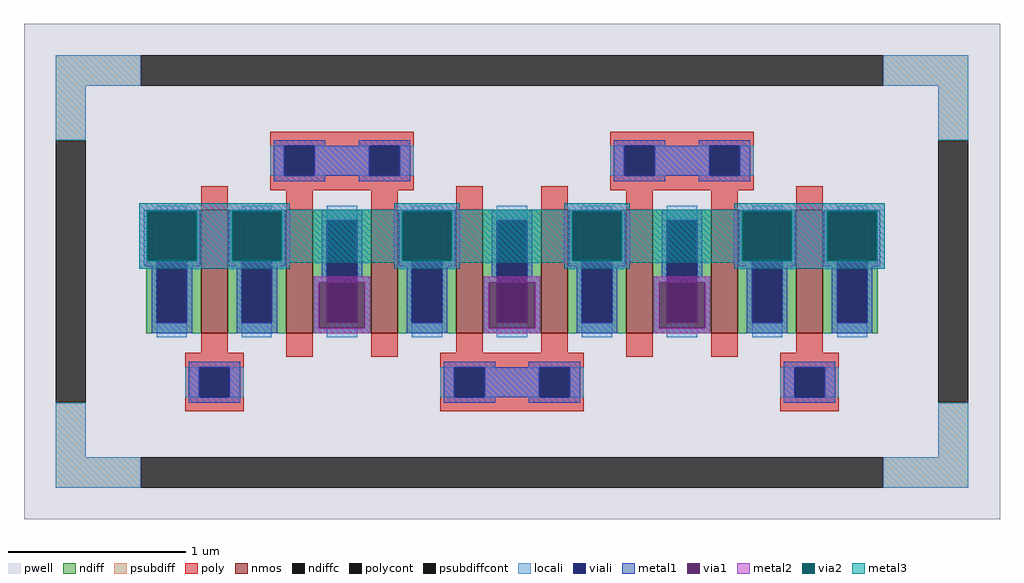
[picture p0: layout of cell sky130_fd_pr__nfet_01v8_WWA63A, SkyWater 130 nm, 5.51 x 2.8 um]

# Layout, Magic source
magic
tech sky130A
magscale 1 2
<< pwell >>
rect -551 -280 551 280
<< nmos >>
rect -351 -70 -321 70
rect -255 -70 -225 70
rect -159 -70 -129 70
rect -63 -70 -33 70
rect 33 -70 63 70
rect 129 -70 159 70
rect 225 -70 255 70
rect 321 -70 351 70
<< ndiff >>
rect -413 58 -351 70
rect -413 -58 -401 58
rect -367 -58 -351 58
rect -413 -70 -351 -58
rect -321 58 -255 70
rect -321 -58 -305 58
rect -271 -58 -255 58
rect -321 -70 -255 -58
rect -225 58 -159 70
rect -225 -58 -209 58
rect -175 -58 -159 58
rect -225 -70 -159 -58
rect -129 58 -63 70
rect -129 -58 -113 58
rect -79 -58 -63 58
rect -129 -70 -63 -58
rect -33 58 33 70
rect -33 -58 -17 58
rect 17 -58 33 58
rect -33 -70 33 -58
rect 63 58 129 70
rect 63 -58 79 58
rect 113 -58 129 58
rect 63 -70 129 -58
rect 159 58 225 70
rect 159 -58 175 58
rect 209 -58 225 58
rect 159 -70 225 -58
rect 255 58 321 70
rect 255 -58 271 58
rect 305 -58 321 58
rect 255 -70 321 -58
rect 351 58 413 70
rect 351 -58 367 58
rect 401 -58 413 58
rect 351 -70 413 -58
<< ndiffc >>
rect -401 -58 -367 58
rect -305 -58 -271 58
rect -209 -58 -175 58
rect -113 -58 -79 58
rect -17 -58 17 58
rect 79 -58 113 58
rect 175 -58 209 58
rect 271 -58 305 58
rect 367 -58 401 58
<< psubdiff >>
rect -515 210 -419 244
rect 419 210 515 244
rect -515 148 -481 210
rect 481 148 515 210
rect -515 -210 -481 -148
rect 481 -210 515 -148
rect -515 -244 -419 -210
rect 419 -244 515 -210
<< psubdiffcont >>
rect -419 210 419 244
rect -515 -148 -481 148
rect 481 -148 515 148
rect -419 -244 419 -210
<< poly >>
rect -273 142 -111 158
rect -273 108 -257 142
rect -223 108 -161 142
rect -127 108 -111 142
rect -351 70 -321 96
rect -273 92 -111 108
rect 111 142 273 158
rect 111 108 127 142
rect 161 108 223 142
rect 257 108 273 142
rect -255 70 -225 92
rect -159 70 -129 92
rect -63 70 -33 96
rect 33 70 63 96
rect 111 92 273 108
rect 129 70 159 92
rect 225 70 255 92
rect 321 70 351 96
rect -351 -92 -321 -70
rect -369 -108 -303 -92
rect -255 -96 -225 -70
rect -159 -96 -129 -70
rect -63 -92 -33 -70
rect 33 -92 63 -70
rect -369 -142 -353 -108
rect -319 -142 -303 -108
rect -369 -158 -303 -142
rect -81 -108 81 -92
rect 129 -96 159 -70
rect 225 -96 255 -70
rect 321 -92 351 -70
rect -81 -142 -65 -108
rect -31 -142 31 -108
rect 65 -142 81 -108
rect -81 -158 81 -142
rect 303 -108 369 -92
rect 303 -142 319 -108
rect 353 -142 369 -108
rect 303 -158 369 -142
<< polycont >>
rect -257 108 -223 142
rect -161 108 -127 142
rect 127 108 161 142
rect 223 108 257 142
rect -353 -142 -319 -108
rect -65 -142 -31 -108
rect 31 -142 65 -108
rect 319 -142 353 -108
<< locali >>
rect -515 210 -419 244
rect 419 210 515 244
rect -515 148 -481 210
rect 481 148 515 210
rect -273 108 -257 142
rect -223 108 -161 142
rect -127 108 -111 142
rect 111 108 127 142
rect 161 108 223 142
rect 257 108 273 142
rect -401 58 -367 74
rect -401 -74 -367 -58
rect -305 58 -271 74
rect -305 -74 -271 -58
rect -209 58 -175 74
rect -209 -74 -175 -58
rect -113 58 -79 74
rect -113 -74 -79 -58
rect -17 58 17 74
rect -17 -74 17 -58
rect 79 58 113 74
rect 79 -74 113 -58
rect 175 58 209 74
rect 175 -74 209 -58
rect 271 58 305 74
rect 271 -74 305 -58
rect 367 58 401 74
rect 367 -74 401 -58
rect -369 -142 -353 -108
rect -319 -142 -303 -108
rect -81 -142 -65 -108
rect -31 -142 31 -108
rect 65 -142 81 -108
rect 303 -142 319 -108
rect 353 -142 369 -108
rect -515 -210 -481 -148
rect 481 -210 515 -148
rect -515 -244 -419 -210
rect 419 -244 515 -210
<< viali >>
rect -257 108 -223 142
rect -161 108 -127 142
rect 127 108 161 142
rect 223 108 257 142
rect -401 -58 -367 58
rect -305 -58 -271 58
rect -209 -58 -175 58
rect -113 -58 -79 58
rect -17 -58 17 58
rect 79 -58 113 58
rect 175 -58 209 58
rect 271 -58 305 58
rect 367 -58 401 58
rect -353 -142 -319 -108
rect -65 -142 -31 -108
rect 31 -142 65 -108
rect 319 -142 353 -108
<< metal1 >>
rect -269 142 -211 148
rect -173 142 -115 148
rect -269 108 -257 142
rect -223 108 -161 142
rect -127 108 -115 142
rect -269 102 -211 108
rect -173 102 -115 108
rect 115 142 173 148
rect 211 142 269 148
rect 115 108 127 142
rect 161 108 223 142
rect 257 108 269 142
rect 115 102 173 108
rect 211 102 269 108
rect -416 66 -352 70
rect -416 14 -410 66
rect -358 14 -352 66
rect -416 6 -401 14
rect -407 -58 -401 6
rect -367 6 -352 14
rect -320 66 -256 70
rect -320 14 -314 66
rect -262 14 -256 66
rect -320 6 -305 14
rect -367 -58 -361 6
rect -407 -70 -361 -58
rect -311 -58 -305 6
rect -271 6 -256 14
rect -215 58 -169 70
rect -271 -58 -265 6
rect -215 -6 -209 58
rect -311 -70 -265 -58
rect -224 -12 -209 -6
rect -175 -6 -169 58
rect -128 66 -64 70
rect -128 14 -122 66
rect -70 14 -64 66
rect -128 6 -113 14
rect -175 -12 -160 -6
rect -224 -64 -218 -12
rect -166 -64 -160 -12
rect -224 -70 -160 -64
rect -119 -58 -113 6
rect -79 6 -64 14
rect -23 58 23 70
rect -79 -58 -73 6
rect -23 -6 -17 58
rect -119 -70 -73 -58
rect -32 -12 -17 -6
rect 17 -6 23 58
rect 64 66 128 70
rect 64 14 70 66
rect 122 14 128 66
rect 64 6 79 14
rect 17 -12 32 -6
rect -32 -64 -26 -12
rect 26 -64 32 -12
rect -32 -70 32 -64
rect 73 -58 79 6
rect 113 6 128 14
rect 169 58 215 70
rect 113 -58 119 6
rect 169 -6 175 58
rect 73 -70 119 -58
rect 160 -12 175 -6
rect 209 -6 215 58
rect 256 66 320 70
rect 256 14 262 66
rect 314 14 320 66
rect 256 6 271 14
rect 209 -12 224 -6
rect 160 -64 166 -12
rect 218 -64 224 -12
rect 160 -70 224 -64
rect 265 -58 271 6
rect 305 6 320 14
rect 352 66 416 70
rect 352 14 358 66
rect 410 14 416 66
rect 352 6 367 14
rect 305 -58 311 6
rect 265 -70 311 -58
rect 361 -58 367 6
rect 401 6 416 14
rect 401 -58 407 6
rect 361 -70 407 -58
rect -365 -108 -307 -102
rect -365 -142 -353 -108
rect -319 -142 -307 -108
rect -365 -148 -307 -142
rect -77 -108 -19 -102
rect 19 -108 77 -102
rect -77 -142 -65 -108
rect -31 -142 31 -108
rect 65 -142 77 -108
rect -77 -148 -19 -142
rect 19 -148 77 -142
rect 307 -108 365 -102
rect 307 -142 319 -108
rect 353 -142 365 -108
rect 307 -148 365 -142
<< via1 >>
rect -410 58 -358 66
rect -410 14 -401 58
rect -401 14 -367 58
rect -367 14 -358 58
rect -314 58 -262 66
rect -314 14 -305 58
rect -305 14 -271 58
rect -271 14 -262 58
rect -122 58 -70 66
rect -122 14 -113 58
rect -113 14 -79 58
rect -79 14 -70 58
rect -218 -58 -209 -12
rect -209 -58 -175 -12
rect -175 -58 -166 -12
rect -218 -64 -166 -58
rect 70 58 122 66
rect 70 14 79 58
rect 79 14 113 58
rect 113 14 122 58
rect -26 -58 -17 -12
rect -17 -58 17 -12
rect 17 -58 26 -12
rect -26 -64 26 -58
rect 262 58 314 66
rect 262 14 271 58
rect 271 14 305 58
rect 305 14 314 58
rect 166 -58 175 -12
rect 175 -58 209 -12
rect 209 -58 218 -12
rect 166 -64 218 -58
rect 358 58 410 66
rect 358 14 367 58
rect 367 14 401 58
rect 401 14 410 58
<< metal2 >>
rect -421 68 -251 77
rect -421 12 -412 68
rect -356 12 -316 68
rect -260 12 -251 68
rect -421 3 -251 12
rect -133 68 -59 77
rect -133 12 -124 68
rect -68 12 -59 68
rect -133 3 -59 12
rect 59 68 133 77
rect 59 12 68 68
rect 124 12 133 68
rect 59 3 133 12
rect 251 68 421 77
rect 251 12 260 68
rect 316 12 356 68
rect 412 12 421 68
rect 251 3 421 12
rect -224 -12 -160 -6
rect -224 -64 -218 -12
rect -166 -64 -160 -12
rect -224 -70 -160 -64
rect -32 -12 32 -6
rect -32 -64 -26 -12
rect 26 -64 32 -12
rect -32 -70 32 -64
rect 160 -12 224 -6
rect 160 -64 166 -12
rect 218 -64 224 -12
rect 160 -70 224 -64
<< via2 >>
rect -412 66 -356 68
rect -412 14 -410 66
rect -410 14 -358 66
rect -358 14 -356 66
rect -412 12 -356 14
rect -316 66 -260 68
rect -316 14 -314 66
rect -314 14 -262 66
rect -262 14 -260 66
rect -316 12 -260 14
rect -124 66 -68 68
rect -124 14 -122 66
rect -122 14 -70 66
rect -70 14 -68 66
rect -124 12 -68 14
rect 68 66 124 68
rect 68 14 70 66
rect 70 14 122 66
rect 122 14 124 66
rect 68 12 124 14
rect 260 66 316 68
rect 260 14 262 66
rect 262 14 314 66
rect 314 14 316 66
rect 260 12 316 14
rect 356 66 412 68
rect 356 14 358 66
rect 358 14 410 66
rect 410 14 412 66
rect 356 12 412 14
<< metal3 >>
rect -421 70 -251 77
rect -133 70 -59 77
rect 59 70 133 77
rect 251 70 421 77
rect -421 68 421 70
rect -421 12 -412 68
rect -356 12 -316 68
rect -260 12 -124 68
rect -68 12 68 68
rect 124 12 260 68
rect 316 12 356 68
rect 412 12 421 68
rect -421 10 421 12
rect -421 3 -251 10
rect -133 3 -59 10
rect 59 3 133 10
rect 251 3 421 10
<< properties >>
string FIXED_BBOX -498 -227 498 227
string gencell sky130_fd_pr__nfet_01v8
string library sky130
string parameters w 0.7 l 0.150 m 1 nf 8 diffcov 100 polycov 100 guard 1 glc 1 grc 1 gtc 1 gbc 1 tbcov 100 rlcov 100 topc 1 botc 1 poverlap 0 doverlap 1 lmin 0.15 wmin 0.42 compatible {sky130_fd_pr__nfet_01v8 sky130_fd_pr__nfet_01v8_lvt  sky130_fd_bs_flash__special_sonosfet_star  sky130_fd_pr__nfet_g5v0d10v5 sky130_fd_pr__nfet_05v0_nvt  sky130_fd_pr__nfet_03v3_nvt} full_metal 1 viasrc 100 viadrn 100 viagate 100 viagb 0 viagr 0 viagl 0 viagt 0
<< end >>
